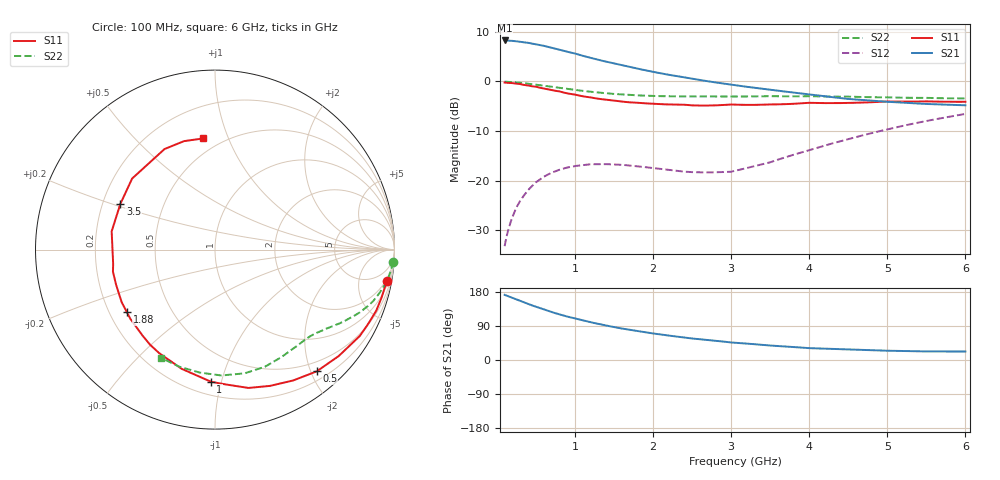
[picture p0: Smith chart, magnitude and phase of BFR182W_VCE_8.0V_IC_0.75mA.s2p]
! Infineon Technologies  Discrete & RF Semiconductors
! BFR182W
! VCE =  8.0 V,  IC = 0.75 mA
! Common Emitter S-Parameters:  Nov 2015
# GHz  S  MA  R  50
!  f  S11  S21  S12  S22
! GHz  MAG  ANG  MAG  ANG  MAG  ANG  MAG  ANG
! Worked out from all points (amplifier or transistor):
!   192 points, 100 MHz to 6 GHz, reference 50 ohm
!   highest |S21| = 8.3 dB at 100 MHz (marker M1)
!   |S21| within 3 dB of that: start of sweep to 1.08 GHz
!   unconditionally stable (mu >= 1): 2.303 GHz to 3.402 GHz
!   at 440 MHz: K = 0.18, MSG = 14.5 dB, |S12| = -21.3 dB
!   at 1.7 GHz: K = 0.73, MSG = 9.9 dB, |S12| = -17.0 dB
!   at 6 GHz: K = 0.84, MSG = 0.9 dB, |S12| = -6.6 dB
!   S11 on the Smith chart (normalised r, x): 100 MHz: 2, -11; 500 MHz: 0.34, -2.10; 1 GHz: 0.29, -0.93; 1.88 GHz: 0.27, -0.30; 3.5 GHz: 0.27, +0.21; 6 GHz: 0.40, +0.81
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0.1  0.9724 -10.4  2.586 171.9  0.0218 82.9  0.9928 -3.9
0.16  0.9648 -16.7  2.57 166.9  0.0346 79.5  0.9885 -6.2
0.26  0.9465 -26.8  2.534 158.9  0.0551 73.4  0.9749 -9.9
0.4  0.9093 -40.7  2.45 147.8  0.08 65.7  0.9484 -14.7
0.5  0.884 -50.1  2.37 140.5  0.0958 60.1  0.928 -17.9
0.6  0.849 -59.2  2.285 133.4  0.1091 55.3  0.9048 -20.6
0.7  0.8189 -68.0  2.187 126.5  0.1198 50.9  0.8823 -23.1
0.8  0.793 -76.4  2.094 120.4  0.1283 47.0  0.8594 -25.4
1  0.7363 -91.8  1.91 109.4  0.1402 40.1  0.8194 -29.4
1.1  0.7078 -98.5  1.812 104.7  0.1429 37.3  0.8024 -31.0
1.2  0.6897 -105.6  1.728 99.5  0.146 34.7  0.7861 -32.7
1.46  0.6465 -121.9  1.541 88.5  0.1457 30.0  0.7516 -36.6
1.6  0.6263 -130.2  1.458 83.1  0.1443 28.5  0.7385 -38.3
1.88  0.6021 -144.6  1.305 74.0  0.1371 27.7  0.7184 -42.0
2.08  0.5906 -154.2  1.214 67.9  0.1315 28.7  0.7103 -44.8
2.5  0.5731 -171.9  1.063 56.7  0.1215 35.5  0.7038 -50.4
3.1  0.5813 166.9  0.903 44.8  0.1281 54.5  0.7038 -60.0
3.5  0.5855 154.3  0.823 38.2  0.1528 65.5  0.7096 -67.0
4.1  0.6055 136.9  0.723 30.6  0.2138 71.8  0.7056 -78.7
4.5  0.6065 126.7  0.665 27.6  0.261 72.0  0.7022 -87.1
5.1  0.6254 114.6  0.617 24.1  0.3421 68.5  0.6871 -99.0
6  0.6228 96.2  0.574 22.4  0.47 59.4  0.6738 -116.6
